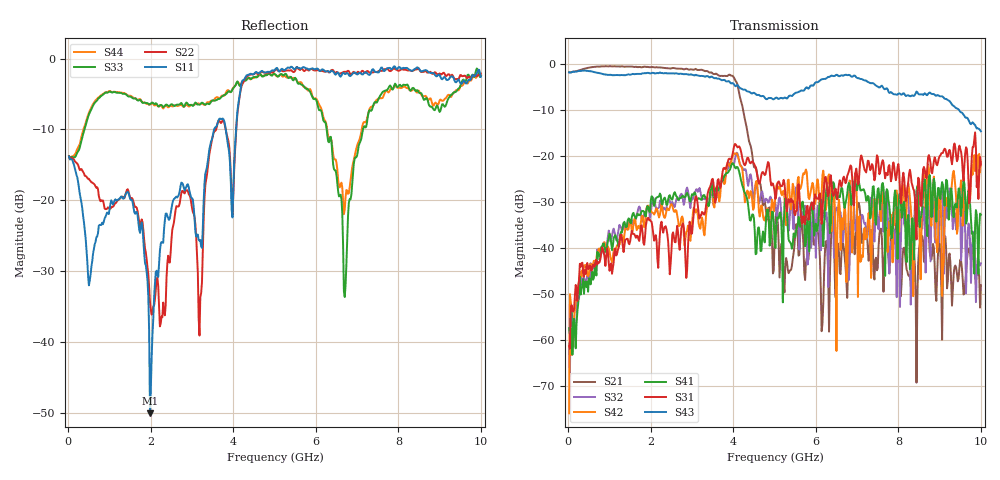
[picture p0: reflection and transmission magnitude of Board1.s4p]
! c:\Lecroy\SPARQ\Temp\TempForSaveMeasurement\Result.s4p
! Tue Nov 24 17:02:35 2015
!!Measured using LeCroy SPARQ LCRY2401N02022
!MixedMode
!DutToConverterPinDefinitions,-1,+1,+2,-2
!UserPortDefinitions,D1,D2,C1,C2
! freq S11 S12 S13 S14
! S21 S22 S23 S24
! S31 S32 S33 S34
! S41 S42 S43 S44
# MHz S MA R 50.00
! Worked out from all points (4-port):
!   500 points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, 20 MHz to 10 GHz, reference 50 ohm
!   strongest paths, dB at 20 MHz, 2.52 GHz, 5.02 GHz, 7.52 GHz, 10 GHz:
!     S43: -1.9, -2.2, -7.5, -5.1, -14.7
!     S31: -61.4, -37.1, -29.4, -22.2, -22.0
!     S41: -57.5, -29.6, -40.1, -27.1, -32.8
!     S42: -76.0, -30.8, -28.9, -28.2, -21.3
!     S32: -60.8, -30.1, -30.3, -36.0, -43.4
!     S21: -1.9, -1.0, -34.3, -39.8, -48.1
!   lowest |S11| = -50.0 dB at 1.98 GHz (marker M1), VSWR 1.01, Z = 49.7 + j0.00842 ohm
!   |S11| at or under -10 dB: start of sweep to 3.535 GHz; 3.817 GHz to 4.067 GHz (250.5 MHz wide, 6.35 % of centre)
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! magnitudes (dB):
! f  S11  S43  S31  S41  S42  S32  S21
! 20 MHz  -13.8  -1.9  -61.4  -57.5  -76.0  -60.8  -1.9
! 1.98 GHz  -50.0  -2.1  -33.9  -32.3  -31.6  -33.6  -0.8
! 4.34 GHz  -2.3  -6.1  -20.5  -29.5  -27.6  -25.7  -14.8
! 4.94 GHz  -1.7  -7.6  -26.1  -32.2  -29.5  -30.7  -39.1
! 6.7 GHz  -2.2  -2.5  -25.2  -31.4  -30.5  -33.6  -42.1
! 7.42 GHz  -1.8  -4.5  -25.4  -29.1  -29.4  -38.7  -46.9
! 10 GHz  -2.6  -14.7  -22.0  -32.8  -21.3  -43.4  -48.1
